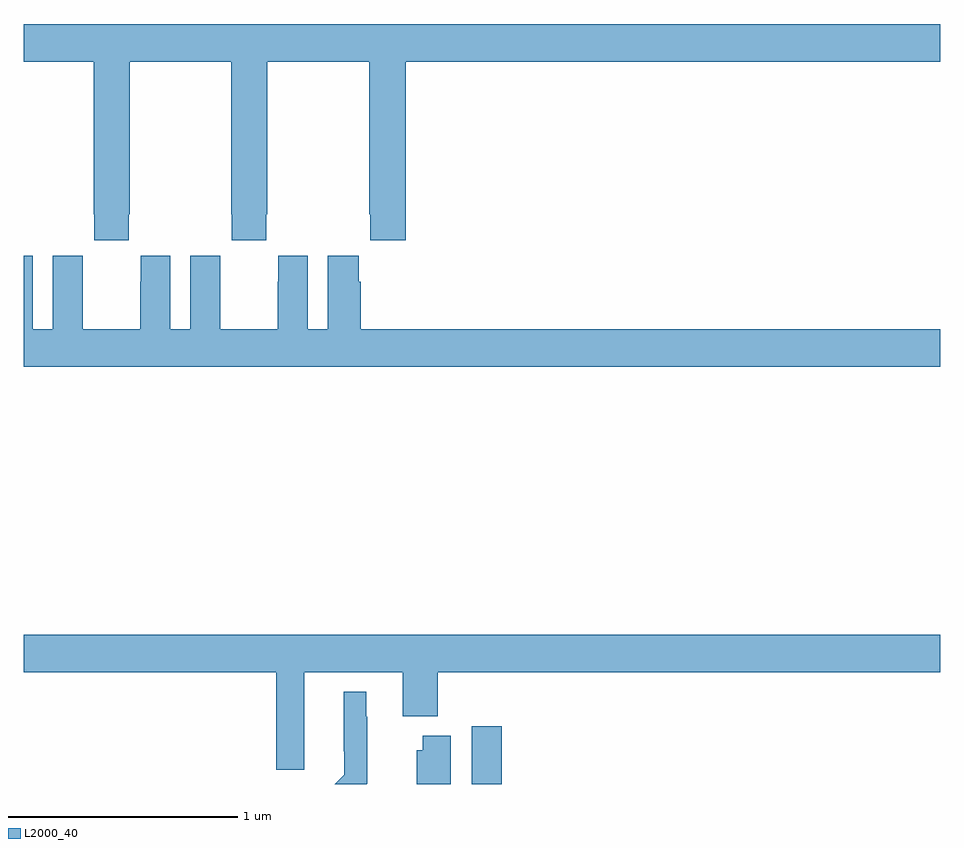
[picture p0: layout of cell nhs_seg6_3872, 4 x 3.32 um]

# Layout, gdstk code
import gdstk
lib = gdstk.Library(unit=1e-6, precision=1e-09)
def R(c, l, rs):  # rectangles x0, y0, x1, y1
    for r in rs: c.add(gdstk.rectangle(r[:2], r[2:], *l))
def P(c, l, *ps):  # polygons
    for p in ps: c.add(gdstk.Polygon(p, *l))
L2000_40 = (2000, 40)

nhs_seg6_3872 = lib.new_cell('nhs_seg6_3872')
R(nhs_seg6_3872, L2000_40, [(340.955,961.5,341.087,961.753)])
P(nhs_seg6_3872, L2000_40, [(339.459,963.985),(339.462,963.985),(339.462,964.652),(339.907,964.652),(339.907,963.985),(339.909,963.985),(339.909,963.873),(340.059,963.873),(340.059,963.985),(340.062,963.985),(340.062,964.652),(340.507,964.652),(340.507,963.985),(340.513,963.985),(340.513,963.873),(340.667,963.873),(340.667,964.652),(343,964.652),(343,964.816),(339,964.816),(339,964.652),(339.307,964.652),(339.307,963.985),(339.309,963.985),(339.309,963.873),(339.459,963.873)],
  [(343,963.484),(340.472,963.484),(340.472,963.692),(340.462,963.692),(340.462,963.805),(340.328,963.805),(340.328,963.484),(340.24,963.484),(340.24,963.805),(340.11,963.805),(340.11,963.692),(340.109,963.692),(340.109,963.484),(339.859,963.484),(339.859,963.692),(339.858,963.692),(339.858,963.805),(339.728,963.805),(339.728,963.484),(339.64,963.484),(339.64,963.805),(339.51,963.805),(339.51,963.692),(339.509,963.692),(339.509,963.484),(339.259,963.484),(339.259,963.692),(339.258,963.692),(339.258,963.805),(339.128,963.805),(339.128,963.484),(339.04,963.484),(339.04,963.805),(339,963.805),(339,963.32),(343,963.32)],
  [(340.225,961.988),(340.655,961.988),(340.655,961.796),(340.808,961.796),(340.808,961.988),(343,961.988),(343,962.152),(339,962.152),(339,961.988),(340.103,961.988),(340.103,961.563),(340.225,961.563)],
  [(340.499,961.502),(340.499,961.793),(340.495,961.793),(340.495,961.903),(340.397,961.903),(340.397,961.642),(340.398,961.642),(340.398,961.54),(340.358,961.5),(340.497,961.5)],
  [(340.864,961.711),(340.742,961.711),(340.742,961.647),(340.715,961.647),(340.715,961.5),(340.864,961.5)])

lib.write_gds('nhs_seg6_3872.gds')
